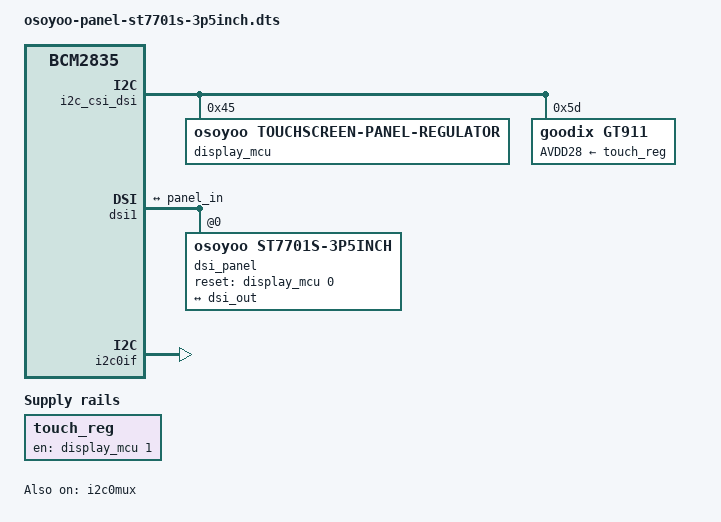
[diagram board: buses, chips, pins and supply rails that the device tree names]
/*
 * OSOYOO 3.5" 480x800 Raspberry Pi MIPI-DSI panel (ST7701S, 2-lane).
 *
 * Same overlay topology as the shipping 7"/10" OSOYOO DSI panels:
 *   display_mcu@45  - STM32 acting as reset gpio-controller + backlight
 *   gt911@5d        - Goodix capacitive touch
 * Only the panel compatible and the touch size/dimensions differ.
 *
 * Build:   dtc -@ -I dts -O dtb -o osoyoo-panel-st7701s-3p5inch.dtbo \
 *              osoyoo-panel-st7701s-3p5inch.dts
 * Enable:  dtoverlay=osoyoo-panel-st7701s-3p5inch         (DSI1, default)
 *          dtoverlay=osoyoo-panel-st7701s-3p5inch,dsi0    (DSI0)
 */

/dts-v1/;
/plugin/;

/ {
	compatible = "brcm,bcm2835";

	i2c_frag: fragment@0 {
		target = <&i2c_csi_dsi>;
		__overlay__ {
			#address-cells = <1>;
			#size-cells = <0>;
			status = "okay";

			display_mcu: display_mcu@45 {
				compatible = "osoyoo,touchscreen-panel-regulator";
				reg = <0x45>;
				gpio-controller;
				#gpio-cells = <2>;
			};

			gt911: gt911@5d {
				compatible = "goodix,gt911";
				reg = <0x5d>;
				AVDD28-supply = <&touch_reg>;
				touchscreen-size-x = <480>;
				touchscreen-size-y = <800>;
				/* TP VA 45.36 x 75.8 mm per SPC_HZ-TFT035BI075-C021 */
				touchscreen-x-mm = <45>;
				touchscreen-y-mm = <76>;
			};
		};
	};

	dsi_frag: fragment@1 {
		target = <&dsi1>;
		__overlay__ {
			#address-cells = <1>;
			#size-cells = <0>;
			status = "okay";

			port {
				dsi_out: endpoint {
					remote-endpoint = <&panel_in>;
				};
			};

			dsi_panel: dsi_panel@0 {
				reg = <0>;
				compatible = "osoyoo,st7701s-3p5inch";
				reset-gpio = <&display_mcu 0 0>;

				port {
					panel_in: endpoint {
						remote-endpoint = <&dsi_out>;
					};
				};
			};
		};
	};

	fragment@2 {
		target = <&i2c0if>;
		__overlay__ {
			status = "okay";
		};
	};

	fragment@3 {
		target = <&i2c0mux>;
		__overlay__ {
			status = "okay";
		};
	};

	fragment@4 {
		target-path = "/";
		__overlay__ {
			touch_reg: touch_reg@1 {
				reg = <1>;
				compatible = "regulator-fixed";
				regulator-name = "touch_reg_1";
				gpio = <&display_mcu 1 1>;
				startup-delay-us = <50000>;
				enable-active-high;
			};
		};
	};

	fragment@10 {
		target = <&gt911>;
		__dormant__ {
			touchscreen-inverted-x;
		};
	};

	fragment@11 {
		target = <&gt911>;
		__dormant__ {
			touchscreen-inverted-y;
		};
	};

	__overrides__ {
		dsi0 = <&dsi_frag>, "target:0=",<&dsi0>,
		       <&i2c_frag>, "target:0=",<&i2c_csi_dsi0>,
		       <&touch_reg>, "reg:0=0",
		       <&touch_reg>, "regulator-name=touch_reg_0";
		sizex = <&gt911>,"touchscreen-size-x:0";
		sizey = <&gt911>,"touchscreen-size-y:0";
		invx = <0>, "+10";
		invy = <0>, "+11";
		swapxy = <&gt911>,"touchscreen-swapped-x-y?";
		disable_touch = <&gt911>, "status=disabled";
		rotation = <&dsi_panel>, "rotation:0";
	};
};
